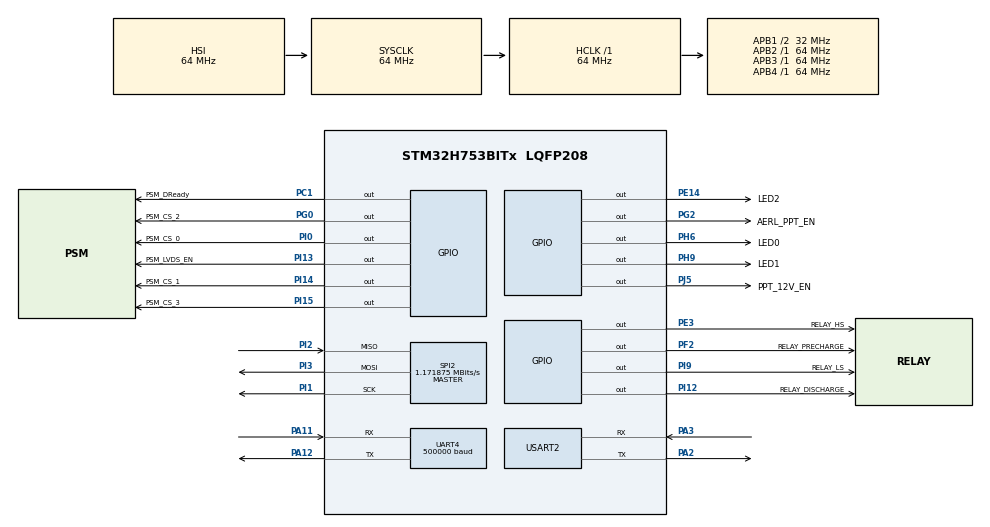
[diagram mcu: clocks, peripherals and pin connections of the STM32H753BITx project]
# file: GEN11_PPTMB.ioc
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CRC.InputDataFormat=CRC_INPUTDATA_FORMAT_WORDS
CRC.InputDataInversionMode=CRC_INPUTDATA_INVERSION_NONE
CRC.OutputDataInversionMode=CRC_OUTPUTDATA_INVERSION_DISABLE
Dma.Request0=UART4_RX
Dma.Request1=UART4_TX
Dma.UART4_RX.0.Direction=DMA_PERIPH_TO_MEMORY
Dma.UART4_RX.0.EventEnable=DISABLE
Dma.UART4_RX.0.FIFOMode=DMA_FIFOMODE_DISABLE
Dma.UART4_RX.0.Instance=DMA1_Stream0
Dma.UART4_RX.0.MemDataAlignment=DMA_MDATAALIGN_BYTE
Dma.UART4_RX.0.MemInc=DMA_MINC_ENABLE
Dma.UART4_RX.0.Mode=DMA_CIRCULAR
Dma.UART4_RX.0.PeriphDataAlignment=DMA_PDATAALIGN_BYTE
Dma.UART4_RX.0.PeriphInc=DMA_PINC_DISABLE
Dma.UART4_RX.0.Polarity=HAL_DMAMUX_REQ_GEN_RISING
Dma.UART4_RX.0.Priority=DMA_PRIORITY_HIGH
Dma.UART4_RX.0.RequestNumber=1
Dma.UART4_RX.0.SignalID=NONE
Dma.UART4_RX.0.SyncEnable=DISABLE
Dma.UART4_RX.0.SyncPolarity=HAL_DMAMUX_SYNC_NO_EVENT
Dma.UART4_RX.0.SyncRequestNumber=1
Dma.UART4_RX.0.SyncSignalID=NONE
Dma.UART4_TX.1.Direction=DMA_MEMORY_TO_PERIPH
Dma.UART4_TX.1.EventEnable=DISABLE
Dma.UART4_TX.1.FIFOMode=DMA_FIFOMODE_DISABLE
Dma.UART4_TX.1.Instance=DMA1_Stream1
Dma.UART4_TX.1.MemDataAlignment=DMA_MDATAALIGN_BYTE
Dma.UART4_TX.1.MemInc=DMA_MINC_ENABLE
Dma.UART4_TX.1.Mode=DMA_NORMAL
Dma.UART4_TX.1.PeriphDataAlignment=DMA_PDATAALIGN_BYTE
Dma.UART4_TX.1.PeriphInc=DMA_PINC_DISABLE
Dma.UART4_TX.1.Polarity=HAL_DMAMUX_REQ_GEN_RISING
Dma.UART4_TX.1.Priority=DMA_PRIORITY_HIGH
Dma.UART4_TX.1.RequestNumber=1
Dma.UART4_TX.1.SignalID=NONE
Dma.UART4_TX.1.SyncEnable=DISABLE
Dma.UART4_TX.1.SyncPolarity=HAL_DMAMUX_SYNC_NO_EVENT
Dma.UART4_TX.1.SyncRequestNumber=1
Dma.UART4_TX.1.SyncSignalID=NONE
FREERTOS.Tasks01=defaultTask,0,128,StartDefaultTask,Default,NULL,Dynamic,NULL,NULL
FREERTOS.configTIMER_TASK_PRIORITY=5
FREERTOS.configTOTAL_HEAP_SIZE=50000
FREERTOS.configUSE_NEWLIB_REENTRANT=1
FREERTOS.configUSE_TIMERS=1
Mcu.Family=STM32H7
Mcu.Name=STM32H753BITx
Mcu.Package=LQFP208
NVIC.DMA1_Stream0_IRQn=true\:5\:0\:false\:false\:true\:true\:false\:true\:true
NVIC.DMA1_Stream1_IRQn=true\:5\:0\:false\:false\:true\:true\:false\:true\:true
NVIC.PriorityGroup=NVIC_PRIORITYGROUP_4
NVIC.TIM6_DAC_IRQn=true\:15\:0\:false\:false\:true\:false\:false\:true\:true
NVIC.TIM7_IRQn=true\:5\:0\:false\:false\:true\:true\:true\:true\:true
NVIC.TimeBase=TIM6_DAC_IRQn
NVIC.TimeBaseIP=TIM6
NVIC.UART4_IRQn=true\:5\:0\:false\:false\:true\:true\:true\:true\:true
PA11.Mode=Asynchronous
PA11.Signal=UART4_RX
PA12.Mode=Asynchronous
PA12.Signal=UART4_TX
PA13\ (JTMS/SWDIO).Mode=Serial_Wire
PA13\ (JTMS/SWDIO).Signal=DEBUG_JTMS-SWDIO
PA14\ (JTCK/SWCLK).Mode=Serial_Wire
PA14\ (JTCK/SWCLK).Signal=DEBUG_JTCK-SWCLK
PA2.Mode=Asynchronous
PA2.Signal=USART2_TX
PA3.Mode=Asynchronous
PA3.Signal=USART2_RX
PC1.GPIO_Label=PSM_DReady
PC1.Signal=GPIO_Output
PE14.GPIO_Label=LED2
PE14.Signal=GPIO_Output
PE3.GPIO_Label=RELAY_HS
PE3.GPIO_PuPd=GPIO_PULLDOWN
PE3.Signal=GPIO_Output
PF2.GPIO_Label=RELAY_PRECHARGE
PF2.GPIO_PuPd=GPIO_PULLDOWN
PF2.Signal=GPIO_Output
PG0.GPIO_Label=PSM_CS_2
PG0.Signal=GPIO_Output
PG2.GPIO_Label=AERL_PPT_EN
PG2.Signal=GPIO_Output
PH6.GPIO_Label=LED0
PH6.Signal=GPIO_Output
PH9.GPIO_Label=LED1
PH9.Signal=GPIO_Output
PI0.GPIO_Label=PSM_CS_0
PI0.Signal=GPIO_Output
PI1.Mode=Full_Duplex_Master
PI1.Signal=SPI2_SCK
PI12.GPIO_Label=RELAY_DISCHARGE
PI12.GPIO_PuPd=GPIO_PULLDOWN
PI12.Signal=GPIO_Output
PI13.GPIO_Label=PSM_LVDS_EN
PI13.Signal=GPIO_Output
PI14.GPIO_Label=PSM_CS_1
PI14.Signal=GPIO_Output
PI15.GPIO_Label=PSM_CS_3
PI15.Signal=GPIO_Output
PI2.Mode=Full_Duplex_Master
PI2.Signal=SPI2_MISO
PI3.Mode=Full_Duplex_Master
PI3.Signal=SPI2_MOSI
PI9.GPIO_Label=RELAY_LS
PI9.GPIO_PuPd=GPIO_PULLDOWN
PI9.Signal=GPIO_Output
PJ5.GPIO_Label=PPT_12V_EN
PJ5.GPIO_PuPd=GPIO_PULLUP
PJ5.PinState=GPIO_PIN_SET
PJ5.Signal=GPIO_Output
ProjectManager.HeapSize=0x200
ProjectManager.StackSize=0x400
ProjectManager.TargetToolchain=STM32CubeIDE
RCC.ADCFreq_Value=129000000
RCC.APB1Freq_Value=32000000
RCC.APB2Freq_Value=64000000
RCC.APB3Freq_Value=64000000
RCC.APB4Freq_Value=64000000
RCC.CortexFreq_Value=64000000
RCC.D2PPRE1=RCC_APB1_DIV2
RCC.DIVM1=4
RCC.DIVN1=9
RCC.HCLKFreq_Value=64000000
RCC.PLLFRACN=3072
RCC.SYSCLKFreq_VALUE=64000000
RCC.USBFreq_Value=75000000
SPI2.BaudRatePrescaler=SPI_BAUDRATEPRESCALER_64
SPI2.CLKPhase=SPI_PHASE_2EDGE
SPI2.CLKPolarity=SPI_POLARITY_LOW
SPI2.CalculateBaudRate=1.171875 MBits/s
SPI2.DataSize=SPI_DATASIZE_8BIT
SPI2.Direction=SPI_DIRECTION_2LINES
SPI2.Mode=SPI_MODE_MASTER
SPI2.VirtualType=VM_MASTER
TIM7.AutoReloadPreload=TIM_AUTORELOAD_PRELOAD_ENABLE
TIM7.Period=999
TIM7.Prescaler=31999
UART4.BaudRate=500000
USART2.VirtualMode-Asynchronous=VM_ASYNC
VP_CRC_VS_CRC.Mode=CRC_Activate
VP_FREERTOS_VS_CMSIS_V1.Mode=CMSIS_V1
VP_SYS_VS_tim6.Mode=TIM6
VP_TIM7_VS_ClockSourceINT.Mode=Enable_Timer
board=custom

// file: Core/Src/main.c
/* USER CODE BEGIN Header */
/**
  ******************************************************************************
  * @file           : main.c
  * @brief          : Main program body
  ******************************************************************************
  * @attention
  *
  * Copyright (c) 2022 STMicroelectronics.
  * All rights reserved.
  *
  * This software is licensed under terms that can be found in the LICENSE file
  * in the root directory of this software component.
  * If no LICENSE file comes with this software, it is provided AS-IS.
  *
  ******************************************************************************
  */
/* USER CODE END Header */
#include "main.h"
#include "cmsis_os.h"

/* USER CODE BEGIN Includes */
#include "newpsm.h"
#include "bmisc.h"
#include "buart.h"
#include "btcp.h"
#include "h7Boot.h"
/* USER CODE END Includes */

/* USER CODE BEGIN PD */
#define HEARTBEAT_INTERVAL 1000 //Period between heartbeats
#define TCP_ID PPTMB_ID
#define CONNECTION_EXPIRY_THRESHOLD 5000 //Number of ticks since last packet received before connection is considered "lost"

enum MPPT {
	AERL_MPPT,
	BSSR_MPPT
};

#define MPPT_DEVICE AERL_MPPT
/* USER CODE END PD */

CRC_HandleTypeDef hcrc;

SPI_HandleTypeDef hspi2;

TIM_HandleTypeDef htim7;

UART_HandleTypeDef huart4;
UART_HandleTypeDef huart2;
DMA_HandleTypeDef hdma_uart4_rx;
DMA_HandleTypeDef hdma_uart4_tx;

osThreadId defaultTaskHandle;
/* USER CODE BEGIN PV */
B_uartHandle_t *buart;
B_tcpHandle_t *btcp;

uint8_t heartbeat[2] = {PPTMB_HEARTBEAT_ID, 0};

//--- RELAYS & BATTERY ---//
struct relay_periph relay;
QueueHandle_t relayCtrl = NULL;
uint8_t relayCtrlMessage;
uint8_t batteryState = FAULTED; //Assume battery is faulted

//--- PSM ---//
struct PSM_P psmPeriph;
struct PSM_FIR_Filter psmFilter;

float PSM_FIR_voltage[PSM_FIR_FILTER_SAMPLING_FREQ_PPTMB] = {0};
float PSM_FIR_current[PSM_FIR_FILTER_SAMPLING_FREQ_PPTMB] = {0};

/* USER CODE END PV */

void SystemClock_Config(void);
static void MX_GPIO_Init(void);
static void MX_DMA_Init(void);
static void MX_USART2_UART_Init(void);
static void MX_TIM7_Init(void);
static void MX_SPI2_Init(void);
static void MX_CRC_Init(void);
static void MX_UART4_Init(void);
void StartDefaultTask(void const * argument);

/* USER CODE BEGIN PFP */
void PSMTaskHandler(void * parameters);
void measurementSender(TimerHandle_t xTimer);
void HeartbeatHandler(TimerHandle_t xTimer);
static void arrayRelayTask(void * argument);

//Turn off 12V supply to PPT
void shutDownPPTs() {
	if(MPPT_DEVICE == BSSR_MPPT){
		HAL_GPIO_WritePin(PPT_12V_EN_GPIO_Port, PPT_12V_EN_Pin, GPIO_PIN_SET);
	}
	else if(MPPT_DEVICE == AERL_MPPT){
		HAL_GPIO_WritePin(AERL_PPT_EN_GPIO_Port, AERL_PPT_EN_Pin, GPIO_PIN_RESET);
	}
}

//Turn on 12V supply to PPT
void turnOnPPTs() {
	if(MPPT_DEVICE == BSSR_MPPT){
		HAL_GPIO_WritePin(PPT_12V_EN_GPIO_Port, PPT_12V_EN_Pin, GPIO_PIN_RESET);
	}
	else if(MPPT_DEVICE == AERL_MPPT){
		HAL_GPIO_WritePin(AERL_PPT_EN_GPIO_Port, AERL_PPT_EN_Pin, GPIO_PIN_SET);
	}
}

/* USER CODE END PFP */

/* USER CODE BEGIN 0 */
TaskHandle_t PSM_handle;
BaseType_t status;
uint32_t BBMB_last_packet_tick_count = 0;

/* USER CODE END 0 */

int main(void)
{

  /* MCU Configuration--------------------------------------------------------*/

  /* Reset of all peripherals, Initializes the Flash interface and the Systick. */
  HAL_Init();

  /* Configure the system clock */
  SystemClock_Config();

  /* Initialize all configured peripherals */
  MX_GPIO_Init();
  MX_DMA_Init();
  MX_USART2_UART_Init();
  MX_TIM7_Init();
  MX_SPI2_Init();
  MX_CRC_Init();
  MX_UART4_Init();
  /* USER CODE BEGIN 2 */
  //--- NUKE LED ---//
  HAL_TIM_Base_Start_IT(&htim7);

  //--- PPT POWER ---//
  shutDownPPTs(); //Turn off 12V supply to PPT (to prevent gating while the battery isn't connected)

  //--- RDB ---//
  relay.DISCHARGE_GPIO_Port = RELAY_DISCHARGE_GPIO_Port;
  relay.DISCHARGE_Pin = RELAY_DISCHARGE_Pin;
  relay.GND_SIG_GPIO_Port = RELAY_LS_GPIO_Port;
  relay.GND_SIG_Pin = RELAY_LS_Pin;
  relay.ON_SIG_GPIO_Port = RELAY_HS_GPIO_Port;
  relay.ON_SIG_Pin = RELAY_HS_Pin;
  relay.PRE_SIG_GPIO_Port = RELAY_PRECHARGE_GPIO_Port;
  relay.PRE_SIG_Pin = RELAY_PRECHARGE_Pin;
  relay.battery_relay_state = OPEN; //Assume array relays are opened until confirmation is received from PPTMB
  relay.array_relay_state = OPEN; 	//Open array relays at startup

  //--- PSM ---//
  psmPeriph.CSPin = PSM_CS_0_Pin;
  psmPeriph.CSPort = PSM_CS_0_GPIO_Port;
  psmPeriph.LVDSPort = PSM_LVDS_EN_GPIO_Port;
  psmPeriph.LVDSPin = PSM_LVDS_EN_Pin;
  psmPeriph.motherboard = PPTMB_PSM;

  PSM_init(&psmPeriph, &hspi2, &huart2);
  PSM_FIR_Init(&psmFilter);

  test_config(&psmPeriph, &hspi2, &huart2);

  psmFilter.buf_voltage = PSM_FIR_voltage;
  psmFilter.buf_current = PSM_FIR_current;
  psmFilter.buf_size = PSM_FIR_FILTER_SAMPLING_FREQ_PPTMB;
//  test_config(&psmPeriph, &hspi2, &huart2);
//
//  if (config_PSM(&psmPeriph, &hspi2, &huart2, "1234", 2000) == -1){ //2000ms timeout
//	  HAL_GPIO_WritePin(LED0_GPIO_Port, LED0_Pin, GPIO_PIN_SET); //Turn on red LED as a warning

//  }

  //--- COMMS ---//
  buart = B_uartStart(&huart4);
  btcp = B_tcpStart(PPTMB_ID, &buart, buart, 1, &hcrc);

  relayCtrl = xQueueCreate(4, sizeof(uint8_t)); //Holds instruction to open (1) or close relay (2)
  /* USER CODE END 2 */

  /* USER CODE BEGIN RTOS_TIMERS */
  /* start timers, add new ones, ... */
  //--- FREERTOS ---//
  // configASSERT(xTimerStart(xTimerCreate("PSMTaskHandler",  pdMS_TO_TICKS(round(1000 / PSM_FIR_FILTER_SAMPLING_FREQ_PPTMB)), pdTRUE, (void *)0, PSMTaskHandler), 0)); //Temperature and voltage measurements
  configASSERT(xTimerStart(xTimerCreate("measurementSender",  pdMS_TO_TICKS(PSM_SEND_INTERVAL), pdTRUE, (void *)0, measurementSender), 0)); //Periodically send data on UART bus
  xTimerStart(xTimerCreate("HeartbeatHandler",  pdMS_TO_TICKS(HEARTBEAT_INTERVAL / 2), pdTRUE, (void *)0, HeartbeatHandler), 0); //Heartbeat handler

  /* USER CODE END RTOS_TIMERS */

  /* USER CODE BEGIN RTOS_QUEUES */
  /* add queues, ... */
#ifdef DEFAULT_TASK

  /* USER CODE END RTOS_QUEUES */

  /* Create the thread(s) */
  /* definition and creation of defaultTask */
  osThreadDef(defaultTask, StartDefaultTask, osPriorityNormal, 0, 128);
  defaultTaskHandle = osThreadCreate(osThread(defaultTask), NULL);

  /* USER CODE BEGIN RTOS_THREADS */
  /* add threads, ... */
#endif
  BaseType_t status;
  TaskHandle_t arrayRelayTaskHandle;
  status = xTaskCreate(arrayRelayTask,  /* Function that implements the task. */
			"arrayRelayTask", /* Text name for the task. */
			200, 		/* 200 words *4(bytes/word) = 800 bytes allocated for task's stack*/
			"none", /* Parameter passed into the task. */
			4, /* Priority at which the task is created. */
			&arrayRelayTaskHandle /* Used to pass out the created task's handle. */
						  );
  configASSERT(status);

  TaskHandle_t PSM_handle;
  status = xTaskCreate(PSMTaskHandler,  // Function that implements the task.
						"PSMTask",  // Text name for the task.
						200, 		 // 200 words *4(bytes/word) = 800 bytes allocated for task's stack
						"none",  // Parameter passed into the task.
						4,  // Priority at which the task is created.
						&PSM_handle  // Used to pass out the created task's handle.
									);
  configASSERT(status == pdPASS); // Error checking

  /* USER CODE END RTOS_THREADS */

  /* Start scheduler */
  osKernelStart();

  /* We should never get here as control is now taken by the scheduler */
  /* Infinite loop */
  while (1)
  {

  }
}

void SystemClock_Config(void)
{
  RCC_OscInitTypeDef RCC_OscInitStruct = {0};
  RCC_ClkInitTypeDef RCC_ClkInitStruct = {0};

  /** Supply configuration update enable
  */
  HAL_PWREx_ConfigSupply(PWR_LDO_SUPPLY);

  /** Configure the main internal regulator output voltage
  */
  __HAL_PWR_VOLTAGESCALING_CONFIG(PWR_REGULATOR_VOLTAGE_SCALE3);

  while(!__HAL_PWR_GET_FLAG(PWR_FLAG_VOSRDY)) {}

  /** Initializes the RCC Oscillators according to the specified parameters
  * in the RCC_OscInitTypeDef structure.
  */
  RCC_OscInitStruct.OscillatorType = RCC_OSCILLATORTYPE_HSI;
  RCC_OscInitStruct.HSIState = RCC_HSI_DIV1;
  RCC_OscInitStruct.HSICalibrationValue = RCC_HSICALIBRATION_DEFAULT;
  RCC_OscInitStruct.PLL.PLLState = RCC_PLL_ON;
  RCC_OscInitStruct.PLL.PLLSource = RCC_PLLSOURCE_HSI;
  RCC_OscInitStruct.PLL.PLLM = 4;
  RCC_OscInitStruct.PLL.PLLN = 9;
  RCC_OscInitStruct.PLL.PLLP = 2;
  RCC_OscInitStruct.PLL.PLLQ = 2;
  RCC_OscInitStruct.PLL.PLLR = 2;
  RCC_OscInitStruct.PLL.PLLRGE = RCC_PLL1VCIRANGE_3;
  RCC_OscInitStruct.PLL.PLLVCOSEL = RCC_PLL1VCOMEDIUM;
  RCC_OscInitStruct.PLL.PLLFRACN = 3072;
  if (HAL_RCC_OscConfig(&RCC_OscInitStruct) != HAL_OK)
  {
    Error_Handler();
  }

  /** Initializes the CPU, AHB and APB buses clocks
  */
  RCC_ClkInitStruct.ClockType = RCC_CLOCKTYPE_HCLK|RCC_CLOCKTYPE_SYSCLK
                              |RCC_CLOCKTYPE_PCLK1|RCC_CLOCKTYPE_PCLK2
                              |RCC_CLOCKTYPE_D3PCLK1|RCC_CLOCKTYPE_D1PCLK1;
  RCC_ClkInitStruct.SYSCLKSource = RCC_SYSCLKSOURCE_HSI;
  RCC_ClkInitStruct.SYSCLKDivider = RCC_SYSCLK_DIV1;
  RCC_ClkInitStruct.AHBCLKDivider = RCC_HCLK_DIV1;
  RCC_ClkInitStruct.APB3CLKDivider = RCC_APB3_DIV1;
  RCC_ClkInitStruct.APB1CLKDivider = RCC_APB1_DIV2;
  RCC_ClkInitStruct.APB2CLKDivider = RCC_APB2_DIV1;
  RCC_ClkInitStruct.APB4CLKDivider = RCC_APB4_DIV1;

  if (HAL_RCC_ClockConfig(&RCC_ClkInitStruct, FLASH_LATENCY_1) != HAL_OK)
  {
    Error_Handler();
  }
}

static void MX_CRC_Init(void)
{

  hcrc.Instance = CRC;
  hcrc.Init.DefaultPolynomialUse = DEFAULT_POLYNOMIAL_ENABLE;
  hcrc.Init.DefaultInitValueUse = DEFAULT_INIT_VALUE_ENABLE;
  hcrc.Init.InputDataInversionMode = CRC_INPUTDATA_INVERSION_NONE;
  hcrc.Init.OutputDataInversionMode = CRC_OUTPUTDATA_INVERSION_DISABLE;
  hcrc.InputDataFormat = CRC_INPUTDATA_FORMAT_WORDS;
  if (HAL_CRC_Init(&hcrc) != HAL_OK)
  {
    Error_Handler();
  }

}

static void MX_SPI2_Init(void)
{

  /* SPI2 parameter configuration*/
  hspi2.Instance = SPI2;
  hspi2.Init.Mode = SPI_MODE_MASTER;
  hspi2.Init.Direction = SPI_DIRECTION_2LINES;
  hspi2.Init.DataSize = SPI_DATASIZE_8BIT;
  hspi2.Init.CLKPolarity = SPI_POLARITY_LOW;
  hspi2.Init.CLKPhase = SPI_PHASE_2EDGE;
  hspi2.Init.NSS = SPI_NSS_SOFT;
  hspi2.Init.BaudRatePrescaler = SPI_BAUDRATEPRESCALER_64;
  hspi2.Init.FirstBit = SPI_FIRSTBIT_MSB;
  hspi2.Init.TIMode = SPI_TIMODE_DISABLE;
  hspi2.Init.CRCCalculation = SPI_CRCCALCULATION_DISABLE;
  hspi2.Init.CRCPolynomial = 0x0;
  hspi2.Init.NSSPMode = SPI_NSS_PULSE_ENABLE;
  hspi2.Init.NSSPolarity = SPI_NSS_POLARITY_LOW;
  hspi2.Init.FifoThreshold = SPI_FIFO_THRESHOLD_01DATA;
  hspi2.Init.TxCRCInitializationPattern = SPI_CRC_INITIALIZATION_ALL_ZERO_PATTERN;
  hspi2.Init.RxCRCInitializationPattern = SPI_CRC_INITIALIZATION_ALL_ZERO_PATTERN;
  hspi2.Init.MasterSSIdleness = SPI_MASTER_SS_IDLENESS_00CYCLE;
  hspi2.Init.MasterInterDataIdleness = SPI_MASTER_INTERDATA_IDLENESS_00CYCLE;
  hspi2.Init.MasterReceiverAutoSusp = SPI_MASTER_RX_AUTOSUSP_DISABLE;
  hspi2.Init.MasterKeepIOState = SPI_MASTER_KEEP_IO_STATE_DISABLE;
  hspi2.Init.IOSwap = SPI_IO_SWAP_DISABLE;
  if (HAL_SPI_Init(&hspi2) != HAL_OK)
  {
    Error_Handler();
  }

}

static void MX_TIM7_Init(void)
{

  TIM_MasterConfigTypeDef sMasterConfig = {0};

  htim7.Instance = TIM7;
  htim7.Init.Prescaler = 31999;
  htim7.Init.CounterMode = TIM_COUNTERMODE_UP;
  htim7.Init.Period = 999;
  htim7.Init.AutoReloadPreload = TIM_AUTORELOAD_PRELOAD_ENABLE;
  if (HAL_TIM_Base_Init(&htim7) != HAL_OK)
  {
    Error_Handler();
  }
  sMasterConfig.MasterOutputTrigger = TIM_TRGO_RESET;
  sMasterConfig.MasterSlaveMode = TIM_MASTERSLAVEMODE_DISABLE;
  if (HAL_TIMEx_MasterConfigSynchronization(&htim7, &sMasterConfig) != HAL_OK)
  {
    Error_Handler();
  }

}

static void MX_UART4_Init(void)
{

  huart4.Instance = UART4;
  huart4.Init.BaudRate = 500000;
  huart4.Init.WordLength = UART_WORDLENGTH_8B;
  huart4.Init.StopBits = UART_STOPBITS_1;
  huart4.Init.Parity = UART_PARITY_NONE;
  huart4.Init.Mode = UART_MODE_TX_RX;
  huart4.Init.HwFlowCtl = UART_HWCONTROL_NONE;
  huart4.Init.OverSampling = UART_OVERSAMPLING_16;
  huart4.Init.OneBitSampling = UART_ONE_BIT_SAMPLE_DISABLE;
  huart4.Init.ClockPrescaler = UART_PRESCALER_DIV1;
  huart4.AdvancedInit.AdvFeatureInit = UART_ADVFEATURE_NO_INIT;
  if (HAL_UART_Init(&huart4) != HAL_OK)
  {
    Error_Handler();
  }
  if (HAL_UARTEx_SetTxFifoThreshold(&huart4, UART_TXFIFO_THRESHOLD_1_8) != HAL_OK)
  {
    Error_Handler();
  }
  if (HAL_UARTEx_SetRxFifoThreshold(&huart4, UART_RXFIFO_THRESHOLD_1_8) != HAL_OK)
  {
    Error_Handler();
  }
  if (HAL_UARTEx_DisableFifoMode(&huart4) != HAL_OK)
  {
    Error_Handler();
  }

}

static void MX_USART2_UART_Init(void)
{

  huart2.Instance = USART2;
  huart2.Init.BaudRate = 115200;
  huart2.Init.WordLength = UART_WORDLENGTH_8B;
  huart2.Init.StopBits = UART_STOPBITS_1;
  huart2.Init.Parity = UART_PARITY_NONE;
  huart2.Init.Mode = UART_MODE_TX_RX;
  huart2.Init.HwFlowCtl = UART_HWCONTROL_NONE;
  huart2.Init.OverSampling = UART_OVERSAMPLING_16;
  huart2.Init.OneBitSampling = UART_ONE_BIT_SAMPLE_DISABLE;
  huart2.Init.ClockPrescaler = UART_PRESCALER_DIV1;
  huart2.AdvancedInit.AdvFeatureInit = UART_ADVFEATURE_NO_INIT;
  if (HAL_UART_Init(&huart2) != HAL_OK)
  {
    Error_Handler();
  }
  if (HAL_UARTEx_SetTxFifoThreshold(&huart2, UART_TXFIFO_THRESHOLD_1_8) != HAL_OK)
  {
    Error_Handler();
  }
  if (HAL_UARTEx_SetRxFifoThreshold(&huart2, UART_RXFIFO_THRESHOLD_1_8) != HAL_OK)
  {
    Error_Handler();
  }
  if (HAL_UARTEx_DisableFifoMode(&huart2) != HAL_OK)
  {
    Error_Handler();
  }

}

static void MX_DMA_Init(void)
{

  /* DMA controller clock enable */
  __HAL_RCC_DMA1_CLK_ENABLE();

  /* DMA interrupt init */
  /* DMA1_Stream0_IRQn interrupt configuration */
  HAL_NVIC_SetPriority(DMA1_Stream0_IRQn, 5, 0);
  HAL_NVIC_EnableIRQ(DMA1_Stream0_IRQn);
  /* DMA1_Stream1_IRQn interrupt configuration */
  HAL_NVIC_SetPriority(DMA1_Stream1_IRQn, 5, 0);
  HAL_NVIC_EnableIRQ(DMA1_Stream1_IRQn);

}

static void MX_GPIO_Init(void)
{
  GPIO_InitTypeDef GPIO_InitStruct = {0};

  /* GPIO Ports Clock Enable */
  __HAL_RCC_GPIOE_CLK_ENABLE();
  __HAL_RCC_GPIOI_CLK_ENABLE();
  __HAL_RCC_GPIOF_CLK_ENABLE();
  __HAL_RCC_GPIOC_CLK_ENABLE();
  __HAL_RCC_GPIOA_CLK_ENABLE();
  __HAL_RCC_GPIOG_CLK_ENABLE();
  __HAL_RCC_GPIOJ_CLK_ENABLE();
  __HAL_RCC_GPIOH_CLK_ENABLE();

  /*Configure GPIO pin Output Level */
  HAL_GPIO_WritePin(GPIOE, RELAY_HS_Pin|LED2_Pin, GPIO_PIN_RESET);

  /*Configure GPIO pin Output Level */
  HAL_GPIO_WritePin(GPIOI, RELAY_LS_Pin|RELAY_DISCHARGE_Pin|PSM_LVDS_EN_Pin|PSM_CS_1_Pin
                          |PSM_CS_3_Pin|PSM_CS_0_Pin, GPIO_PIN_RESET);

  /*Configure GPIO pin Output Level */
  HAL_GPIO_WritePin(RELAY_PRECHARGE_GPIO_Port, RELAY_PRECHARGE_Pin, GPIO_PIN_RESET);

  /*Configure GPIO pin Output Level */
  HAL_GPIO_WritePin(PSM_DReady_GPIO_Port, PSM_DReady_Pin, GPIO_PIN_RESET);

  /*Configure GPIO pin Output Level */
  HAL_GPIO_WritePin(GPIOG, PSM_CS_2_Pin|AERL_PPT_EN_Pin, GPIO_PIN_RESET);

  /*Configure GPIO pin Output Level */
  HAL_GPIO_WritePin(PPT_12V_EN_GPIO_Port, PPT_12V_EN_Pin, GPIO_PIN_SET);

  /*Configure GPIO pin Output Level */
  HAL_GPIO_WritePin(GPIOH, LED0_Pin|LED1_Pin, GPIO_PIN_RESET);

  /*Configure GPIO pin : RELAY_HS_Pin */
  GPIO_InitStruct.Pin = RELAY_HS_Pin;
  GPIO_InitStruct.Mode = GPIO_MODE_OUTPUT_PP;
  GPIO_InitStruct.Pull = GPIO_PULLDOWN;
  GPIO_InitStruct.Speed = GPIO_SPEED_FREQ_LOW;
  HAL_GPIO_Init(RELAY_HS_GPIO_Port, &GPIO_InitStruct);

  /*Configure GPIO pins : RELAY_LS_Pin RELAY_DISCHARGE_Pin */
  GPIO_InitStruct.Pin = RELAY_LS_Pin|RELAY_DISCHARGE_Pin;
  GPIO_InitStruct.Mode = GPIO_MODE_OUTPUT_PP;
  GPIO_InitStruct.Pull = GPIO_PULLDOWN;
  GPIO_InitStruct.Speed = GPIO_SPEED_FREQ_LOW;
  HAL_GPIO_Init(GPIOI, &GPIO_InitStruct);

  /*Configure GPIO pin : RELAY_PRECHARGE_Pin */
  GPIO_InitStruct.Pin = RELAY_PRECHARGE_Pin;
  GPIO_InitStruct.Mode = GPIO_MODE_OUTPUT_PP;
  GPIO_InitStruct.Pull = GPIO_PULLDOWN;
  GPIO_InitStruct.Speed = GPIO_SPEED_FREQ_LOW;
  HAL_GPIO_Init(RELAY_PRECHARGE_GPIO_Port, &GPIO_InitStruct);

  /*Configure GPIO pins : PSM_LVDS_EN_Pin PSM_CS_1_Pin PSM_CS_3_Pin PSM_CS_0_Pin */
  GPIO_InitStruct.Pin = PSM_LVDS_EN_Pin|PSM_CS_1_Pin|PSM_CS_3_Pin|PSM_CS_0_Pin;
  GPIO_InitStruct.Mode = GPIO_MODE_OUTPUT_PP;
  GPIO_InitStruct.Pull = GPIO_NOPULL;
  GPIO_InitStruct.Speed = GPIO_SPEED_FREQ_LOW;
  HAL_GPIO_Init(GPIOI, &GPIO_InitStruct);

  /*Configure GPIO pin : PSM_DReady_Pin */
  GPIO_InitStruct.Pin = PSM_DReady_Pin;
  GPIO_InitStruct.Mode = GPIO_MODE_OUTPUT_PP;
  GPIO_InitStruct.Pull = GPIO_NOPULL;
  GPIO_InitStruct.Speed = GPIO_SPEED_FREQ_LOW;
  HAL_GPIO_Init(PSM_DReady_GPIO_Port, &GPIO_InitStruct);

  /*Configure GPIO pins : PSM_CS_2_Pin AERL_PPT_EN_Pin */
  GPIO_InitStruct.Pin = PSM_CS_2_Pin|AERL_PPT_EN_Pin;
  GPIO_InitStruct.Mode = GPIO_MODE_OUTPUT_PP;
  GPIO_InitStruct.Pull = GPIO_NOPULL;
  GPIO_InitStruct.Speed = GPIO_SPEED_FREQ_LOW;
  HAL_GPIO_Init(GPIOG, &GPIO_InitStruct);

  /*Configure GPIO pin : LED2_Pin */
  GPIO_InitStruct.Pin = LED2_Pin;
  GPIO_InitStruct.Mode = GPIO_MODE_OUTPUT_PP;
  GPIO_InitStruct.Pull = GPIO_NOPULL;
  GPIO_InitStruct.Speed = GPIO_SPEED_FREQ_LOW;
  HAL_GPIO_Init(LED2_GPIO_Port, &GPIO_InitStruct);

  /*Configure GPIO pin : PPT_12V_EN_Pin */
  GPIO_InitStruct.Pin = PPT_12V_EN_Pin;
  GPIO_InitStruct.Mode = GPIO_MODE_OUTPUT_PP;
  GPIO_InitStruct.Pull = GPIO_PULLUP;
  GPIO_InitStruct.Speed = GPIO_SPEED_FREQ_LOW;
  HAL_GPIO_Init(PPT_12V_EN_GPIO_Port, &GPIO_InitStruct);

  /*Configure GPIO pins : LED0_Pin LED1_Pin */
  GPIO_InitStruct.Pin = LED0_Pin|LED1_Pin;
  GPIO_InitStruct.Mode = GPIO_MODE_OUTPUT_PP;
  GPIO_InitStruct.Pull = GPIO_NOPULL;
  GPIO_InitStruct.Speed = GPIO_SPEED_FREQ_LOW;
  HAL_GPIO_Init(GPIOH, &GPIO_InitStruct);

}

/* USER CODE BEGIN 4 */
void PSMTaskHandler(void * parameters){

//	double voltage, current;

	int delay = pdMS_TO_TICKS(round(1000 / PSM_FIR_FILTER_SAMPLING_FREQ_PPTMB));

	while (1){

		double voltage = readPSM(&psmPeriph, VBUS, 3);
		double current = readPSM(&psmPeriph, CURRENT, 3);

		if(current < PPTMB_CURRENT_OFFSET + 0.0001){
			resetPSM(&psmPeriph);
			config_PSM(&psmPeriph);
		}

		vTaskSuspendAll();

		psmFilter.push(&psmFilter, (float) voltage, VOLTAGE_MEASUREMENT);
		psmFilter.push(&psmFilter, (float) current, CURRENT_MEASUREMENT);

		xTaskResumeAll();
		vTaskDelay(delay);
	}
}

void measurementSender(TimerHandle_t xTimer){
	uint8_t busMetrics_HV[3 * 4] = {0};
//	uint8_t busMetrics_PPT[7 * 4] = {0};

	busMetrics_HV[0] = PPTMB_BUS_METRICS_ID;
	//busMetrics_PPT[0] = PPTMB_PPT_METRICS_ID;

	vTaskSuspendAll();

	float HV_voltage = psmFilter.get_average(&psmFilter, VOLTAGE_MEASUREMENT);
	float HV_current = psmFilter.get_average(&psmFilter, CURRENT_MEASUREMENT);

	xTaskResumeAll();

	floatToArray(HV_voltage, busMetrics_HV + 4); // fills 4 - 7 of busMetrics
	floatToArray(HV_current, busMetrics_HV + 8); // files 8 - 11 of busMetrics

	B_tcpSend(btcp, busMetrics_HV, sizeof(busMetrics_HV));
}

//void PSMTaskHandler(TimerHandle_t xTimer){
////Output of MPPTs
//	double voltageCurrent_total[2] = {0};
//	uint8_t busMetrics_total[3 * 4] = {0};
//	busMetrics_total[0] = PPTMB_BUS_METRICS_ID;
//
//	//PSMRead will fill first element with voltage, second with current
//	PSMRead(&psmPeriph, &hspi2, &huart2, 1, 2, 2, voltageCurrent_total, 2); //Array output on channel #2
//	floatToArray((float) voltageCurrent_total[0], busMetrics_total + 4); // fills 4 - 7 of busMetrics
//	floatToArray((float) voltageCurrent_total[1], busMetrics_total + 8); // fills 8 - 11 of busMetrics
//
//	B_tcpSend(btcp, busMetrics_total, sizeof(busMetrics_total));
//
////Output of string
//	double voltageCurrent_string[2] = {0};
//	uint8_t busMetrics_string[7 * 4] = {0};
//	busMetrics_string[0] = PPTMB_PPT_METRICS_ID;
//
//	//String #1
//	PSMRead(&psmPeriph, &hspi2, &huart2, 1, 2, 1, voltageCurrent_string, 2);
//	floatToArray((float) voltageCurrent_string[0], busMetrics_string + 4); // fills 4 - 7 of busMetrics
//	floatToArray((float) voltageCurrent_string[1], busMetrics_string + 16); // fills 16 - 19 of busMetrics
//
//	//String #2
//	PSMRead(&psmPeriph, &hspi2, &huart2, 1, 2, 3, voltageCurrent_string, 2);
//	floatToArray((float) voltageCurrent_string[0], busMetrics_string + 8); // fills 8 - 11 of busMetrics
//	floatToArray((float) voltageCurrent_string[1], busMetrics_string + 20); // fills 20 - 23 of busMetrics
//
//	//String #3
//	PSMRead(&psmPeriph, &hspi2, &huart2, 1, 2, 4, voltageCurrent_string, 2);
//	floatToArray((float) voltageCurrent_string[0], busMetrics_string + 12); // fills 11 - 15 of busMetrics
//	floatToArray((float) voltageCurrent_string[1], busMetrics_string + 24); // fills 24 - 27 of busMetrics
//
//	B_tcpSend(btcp, busMetrics_string, sizeof(busMetrics_string));
//}

void HeartbeatHandler(TimerHandle_t xTimer){
	//Send periodic heartbeat so we know the board is still running
	B_tcpSend(btcp, heartbeat, sizeof(heartbeat));
	heartbeat[1] = ~heartbeat[1]; //Toggle for next time
}

void serialParse(B_tcpPacket_t *pkt){
	switch(pkt->senderID){
		case BBMB_ID:
			BBMB_last_packet_tick_count = xTaskGetTickCount();
			//Relay state
			if (pkt->data[0] == BBMB_RELAYS_STATE_ID){

				vTaskSuspendAll();
				if ((pkt->data[3] == OPEN) && (relay.array_relay_state == CLOSED)){ //Open relays and resend
					relayCtrlMessage = RELAY_QUEUE_OPEN_ARRAY;
					xTaskResumeAll();
					xQueueSend(relayCtrl, &relayCtrlMessage, 10); //Open relays
					vTaskSuspendAll();
				} else if ((pkt->data[3] == CLOSED) && (relay.array_relay_state == OPEN)){ //Try to close array relays
					relayCtrlMessage = RELAY_QUEUE_CLOSE_ARRAY;
					xTaskResumeAll();
					xQueueSend(relayCtrl, &relayCtrlMessage, 10); //Close relays
					vTaskSuspendAll();
				}

				batteryState = pkt->data[1];
				relay.battery_relay_state = pkt->data[2];

				//Disable 12V power to PPT if the battery is disconnected from HV bus (to prevent gating without output biased by anything)
				//Note that PPTMB design has PPT_12V_EN GPIO signal on Nuke pin 50. However, no signal is routed there so we shorted that pin to pin 48 on PPTMB-specific Nucleo connector.
				if ((batteryState == FAULTED) || (relay.battery_relay_state == OPEN)) shutDownPPTs();
				//If the battery is OK and both sets of relays are closed, give 12V to PPTs, which starts operation
				else if ((relay.array_relay_state == CLOSED) && (relay.battery_relay_state == CLOSED) && (batteryState == HEALTHY)) turnOnPPTs();
				xTaskResumeAll();
			}
			break;
	}

}

void arrayRelayTask(void * argument){
	uint8_t buf_relay[10];

	//When relays need to be opened, put a 1 in the queue. When they need to be closed, put a 2.

	for(;;){
		if (xQueueReceive(relayCtrl, &buf_relay, 50)){
			if (buf_relay[0] == RELAY_QUEUE_OPEN_ARRAY && relay.array_relay_state != OPEN){
				//For opening relays, notify everyone as soon as the command is received
				relay.array_relay_state = OPEN;

				//Turn off power to MPPTs, which stops operation
				shutDownPPTs();
				osDelay(500); //Wait for 12V-12V converter to turn off

				//Send new relay state to bus
				uint8_t buf[8] = {PPTMB_RELAYS_STATE_ID, batteryState, relay.battery_relay_state, relay.array_relay_state,
								  4, 0, 0, 0}; //Send fault type of "4" which doesn't correspond to any fault
				B_tcpSend(btcp, buf, sizeof(buf));

				open_relays(&relay);

			} else if (buf_relay[0] == RELAY_QUEUE_CLOSE_ARRAY && relay.array_relay_state != CLOSED){
				close_relays(&relay);

				//Only after the relays are fully closed do you update the bus and internal variables
				relay.array_relay_state = CLOSED;

				uint8_t buf[8] = {PPTMB_RELAYS_STATE_ID, batteryState, relay.battery_relay_state, relay.array_relay_state,
								  0, 0, 0, 0};
				B_tcpSend(btcp, buf, sizeof(buf));

				//If the battery is OK and both sets of relays are closed, give 12V to PPTs, which starts operation
				if ((relay.array_relay_state == CLOSED) && (relay.battery_relay_state == CLOSED) && (batteryState == HEALTHY)) turnOnPPTs();
			}
		} else {// Nothing is retrieved from queue after waiting

			uint32_t tick_cnt = xTaskGetTickCount();

			// Automatically open array relays and shut down PPTs if no message has been heard from BBMB after CONNECTION_EXPIRY_THRESHOLD
			if (((tick_cnt - BBMB_last_packet_tick_count) > CONNECTION_EXPIRY_THRESHOLD) && (relay.array_relay_state != OPEN)){

				//For opening relays, notify everyone as soon as possible
				relay.array_relay_state = OPEN;

				//Turn off power to MPPTs, which stops operation
				shutDownPPTs();
				osDelay(500); //Wait for 12V-12V converter to turn off

				//Send new relay state to bus
				uint8_t buf[8] = {PPTMB_RELAYS_STATE_ID, batteryState, relay.battery_relay_state, relay.array_relay_state,
								  4, 0, 0, 0}; //Send fault type of "4" which doesn't correspond to any fault
				B_tcpSend(btcp, buf, sizeof(buf));

				open_relays(&relay);
			}
		}
	}
}

/* USER CODE END 4 */

void StartDefaultTask(void const * argument)
{
  /* USER CODE BEGIN 5 */
  /* Infinite loop */
  osThreadTerminate(defaultTaskHandle);
  /* USER CODE END 5 */
}

void HAL_TIM_PeriodElapsedCallback(TIM_HandleTypeDef *htim)
{
  if (htim->Instance == TIM6) {
    HAL_IncTick();
  }
  /* USER CODE BEGIN Callback 1 */
  else if (htim == &htim7){
  	HAL_GPIO_TogglePin(LED1_GPIO_Port, LED1_Pin);
  }
  /* USER CODE END Callback 1 */
}

void Error_Handler(void)
{
  __disable_irq();
  while (1)
  {
  }
}
